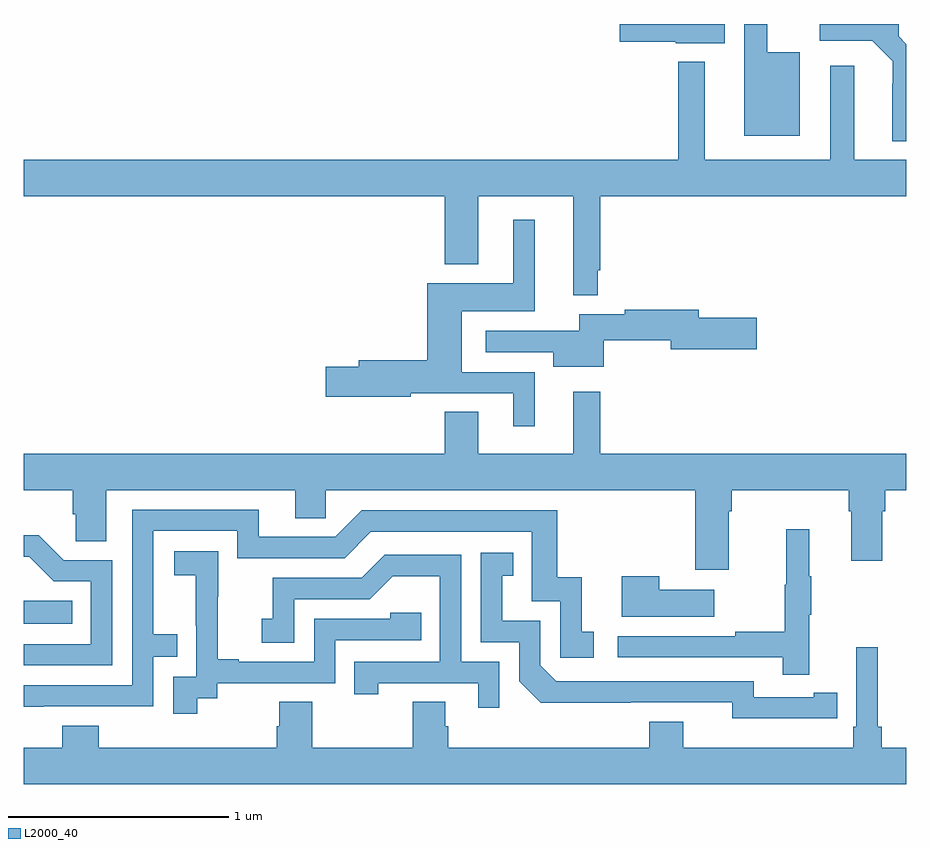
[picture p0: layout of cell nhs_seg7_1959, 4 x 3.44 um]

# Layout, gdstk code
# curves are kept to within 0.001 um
import gdstk
lib = gdstk.Library(unit=1e-6, precision=1e-09)
def R(c, l, rs):  # rectangles x0, y0, x1, y1
    for r in rs: c.add(gdstk.rectangle(r[:2], r[2:], *l))
def P(c, l, *ps):  # polygons
    for p in ps: c.add(gdstk.Polygon(p, *l))
L2000_40 = (2000, 40)

nhs_seg7_1959 = lib.new_cell('nhs_seg7_1959')
R(nhs_seg7_1959, L2000_40, [(241,1061.282,241.22,1061.386)])
P(nhs_seg7_1959, L2000_40, [(244.177,1064),(243.702,1064),(243.702,1063.919),(243.954,1063.919),(243.954,1063.913),(244.177,1063.913)],
  [(244.516,1063.873),(244.369,1063.873),(244.369,1064),(244.265,1064),(244.265,1063.493),(244.516,1063.493)],
  [(245,1063.909),(244.965,1063.944),(244.965,1064),(244.608,1064),(244.608,1063.925),(244.845,1063.925),(244.938,1063.832),(244.938,1063.73),(244.937,1063.73),(244.937,1063.469),(245,1063.469)],
  [(243.602,1062.883),(243.613,1062.883),(243.613,1063.22),(245,1063.22),(245,1063.384),(244.765,1063.384),(244.765,1063.81),(244.655,1063.81),(244.655,1063.384),(244.087,1063.384),(244.087,1063.828),(243.966,1063.828),(243.966,1063.384),(241,1063.384),(241,1063.22),(242.909,1063.22),(242.909,1062.911),(243.061,1062.911),(243.061,1063.22),(243.491,1063.22),(243.491,1062.771),(243.602,1062.771)],
  [(243.316,1062.423),(242.986,1062.423),(242.986,1062.698),(243.316,1062.698),(243.316,1063.114),(243.218,1063.114),(243.218,1062.826),(242.828,1062.826),(242.828,1062.476),(242.519,1062.476),(242.519,1062.446),(242.37,1062.446),(242.37,1062.311),(242.754,1062.311),(242.754,1062.327),(243.218,1062.327),(243.218,1062.177),(243.316,1062.177)],
  [(243.628,1062.568),(243.932,1062.568),(243.932,1062.526),(244.321,1062.526),(244.321,1062.668),(244.06,1062.668),(244.06,1062.704),(243.724,1062.704),(243.724,1062.684),(243.518,1062.684),(243.518,1062.609),(243.093,1062.609),(243.093,1062.513),(243.401,1062.513),(243.401,1062.446),(243.628,1062.446)],
  [(244.195,1061.792),(244.208,1061.792),(244.208,1061.888),(244.739,1061.888),(244.739,1061.792),(244.751,1061.792),(244.751,1061.568),(244.891,1061.568),(244.891,1061.792),(244.904,1061.792),(244.904,1061.888),(245,1061.888),(245,1062.052),(243.613,1062.052),(243.613,1062.334),(243.491,1062.334),(243.491,1062.052),(243.061,1062.052),(243.061,1062.242),(242.909,1062.242),(242.909,1062.052),(241,1062.052),(241,1061.888),(241.223,1061.888),(241.223,1061.779),(241.236,1061.779),(241.236,1061.656),(241.375,1061.656),(241.375,1061.888),(242.231,1061.888),(242.231,1061.761),(242.37,1061.761),(242.37,1061.888),(244.043,1061.888),(244.043,1061.526),(244.195,1061.526)],
  [(241.091,1060.908),(241.587,1060.908),(241.587,1061.133),(241.697,1061.133),(241.697,1061.234),(241.587,1061.234),(241.587,1061.703),(241.968,1061.703),(241.968,1061.58),(242.454,1061.58),(242.574,1061.7),(243.303,1061.7),(243.303,1061.385),(243.432,1061.385),(243.432,1061.127),(243.583,1061.127),(243.583,1061.247),(243.53,1061.247),(243.53,1061.494),(243.419,1061.494),(243.419,1061.796),(242.532,1061.796),(242.412,1061.676),(242.065,1061.676),(242.065,1061.799),(241.491,1061.799),(241.491,1061.004),(241,1061.004),(241,1060.907)],
  [(244.559,1061.323),(244.57,1061.323),(244.57,1061.497),(244.559,1061.497),(244.559,1061.71),(244.456,1061.71),(244.456,1061.46),(244.449,1061.46),(244.449,1061.246),(244.225,1061.246),(244.225,1061.226),(243.693,1061.226),(243.693,1061.13),(244.441,1061.13),(244.441,1061.052),(244.559,1061.052)],
  [(241.401,1061.571),(241.182,1061.571),(241.069,1061.684),(241,1061.684),(241,1061.586),(241.025,1061.586),(241.136,1061.475),(241.305,1061.475),(241.305,1061.19),(241,1061.19),(241,1061.094),(241.401,1061.094)],
  [(241.786,1060.945),(241.878,1060.945),(241.878,1061.013),(242.412,1061.013),(242.412,1061.208),(242.801,1061.208),(242.801,1061.331),(242.661,1061.331),(242.661,1061.304),(242.316,1061.304),(242.316,1061.109),(241.975,1061.109),(241.975,1061.122),(241.88,1061.122),(241.88,1061.405),(241.881,1061.405),(241.881,1061.611),(241.683,1061.611),(241.683,1061.501),(241.781,1061.501),(241.781,1061.273),(241.782,1061.273),(241.782,1061.043),(241.677,1061.043),(241.677,1060.875),(241.786,1060.875)],
  [(244.58,1060.854),(244.688,1060.854),(244.688,1060.97),(244.58,1060.97),(244.58,1060.95),(244.308,1060.95),(244.308,1061.022),(243.414,1061.022),(243.342,1061.094),(243.342,1061.295),(243.169,1061.295),(243.169,1061.499),(243.218,1061.499),(243.218,1061.605),(243.072,1061.605),(243.072,1061.199),(243.246,1061.199),(243.246,1061.022),(243.344,1060.925),(244.212,1060.926),(244.212,1060.853)],
  [(243.156,1061.109),(242.982,1061.109),(242.982,1061.595),(242.636,1061.595),(242.531,1061.49),(242.128,1061.49),(242.128,1061.305),(242.079,1061.305),(242.079,1061.196),(242.226,1061.196),(242.226,1061.394),(242.568,1061.394),(242.672,1061.498),(242.886,1061.498),(242.886,1061.109),(242.497,1061.109),(242.497,1060.962),(242.608,1060.962),(242.608,1061.013),(243.059,1061.013),(243.059,1060.902),(243.156,1060.902)],
  [(244.129,1061.437),(243.881,1061.437),(243.881,1061.497),(243.71,1061.497),(243.71,1061.315),(244.129,1061.315)],
  [(245,1060.72),(244.889,1060.72),(244.889,1060.816),(244.87,1060.816),(244.87,1061.176),(244.773,1061.176),(244.773,1060.816),(244.76,1060.816),(244.76,1060.72),(243.988,1060.72),(243.988,1060.837),(243.836,1060.837),(243.836,1060.72),(242.924,1060.72),(242.924,1060.818),(242.911,1060.818),(242.911,1060.928),(242.764,1060.928),(242.764,1060.72),(242.307,1060.72),(242.307,1060.928),(242.159,1060.928),(242.159,1060.818),(242.147,1060.818),(242.147,1060.72),(241.34,1060.72),(241.34,1060.819),(241.175,1060.819),(241.175,1060.72),(241,1060.72),(241,1060.556),(245,1060.556)])

lib.write_gds('nhs_seg7_1959.gds')
